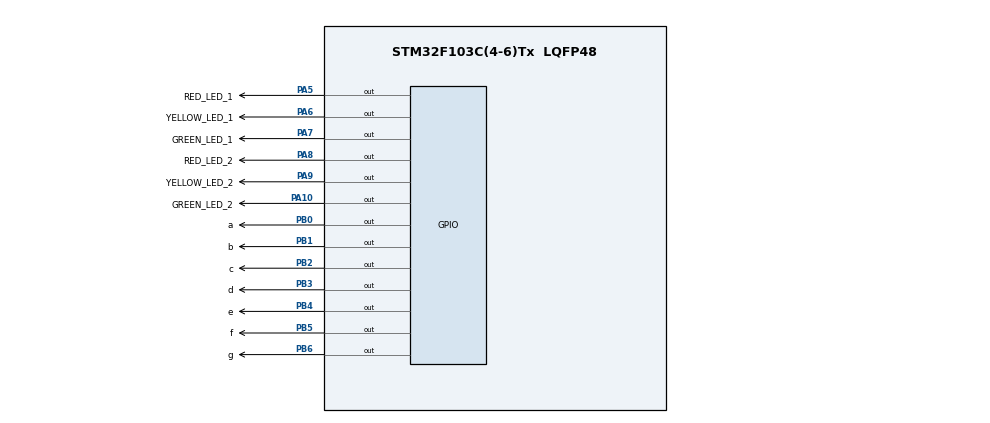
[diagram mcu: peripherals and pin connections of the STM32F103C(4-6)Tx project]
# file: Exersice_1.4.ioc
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Mcu.Family=STM32F1
Mcu.Name=STM32F103C(4-6)Tx
Mcu.Package=LQFP48
NVIC.PriorityGroup=NVIC_PRIORITYGROUP_4
PA10.GPIO_Label=GREEN_LED_2
PA10.Signal=GPIO_Output
PA5.GPIO_Label=RED_LED_1
PA5.Signal=GPIO_Output
PA6.GPIO_Label=YELLOW_LED_1
PA6.Signal=GPIO_Output
PA7.GPIO_Label=GREEN_LED_1
PA7.Signal=GPIO_Output
PA8.GPIO_Label=RED_LED_2
PA8.Signal=GPIO_Output
PA9.GPIO_Label=YELLOW_LED_2
PA9.Signal=GPIO_Output
PB0.GPIO_Label=a
PB0.Signal=GPIO_Output
PB1.GPIO_Label=b
PB1.Signal=GPIO_Output
PB2.GPIO_Label=c
PB2.Signal=GPIO_Output
PB3.GPIO_Label=d
PB3.Signal=GPIO_Output
PB4.GPIO_Label=e
PB4.Signal=GPIO_Output
PB5.GPIO_Label=f
PB5.Signal=GPIO_Output
PB6.GPIO_Label=g
PB6.Signal=GPIO_Output
ProjectManager.HeapSize=0x200
ProjectManager.StackSize=0x400
ProjectManager.TargetToolchain=STM32CubeIDE
RCC.APB1Freq_Value=8000000
RCC.APB2Freq_Value=8000000
board=custom

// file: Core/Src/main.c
/* USER CODE BEGIN Header */
/**
  ******************************************************************************
  * @file           : main.c
  * @brief          : Main program body
  ******************************************************************************
  * @attention
  *
  * Copyright (c) 2025 STMicroelectronics.
  * All rights reserved.
  *
  * This software is licensed under terms that can be found in the LICENSE file
  * in the root directory of this software component.
  * If no LICENSE file comes with this software, it is provided AS-IS.
  *
  ******************************************************************************
  */
/* USER CODE END Header */
#include "main.h"

void SystemClock_Config(void);
static void MX_GPIO_Init(void);
/* USER CODE BEGIN PFP */
void number(int n);
void led_1(int *flag_1, int *t1);
void led_2(int *flag_2, int *t2);
/* USER CODE END PFP */

/* USER CODE BEGIN 0 */
void number( int n){
	switch (n){
	case 0:
		HAL_GPIO_WritePin(GPIOB, a_Pin|b_Pin|c_Pin|d_Pin|e_Pin|f_Pin, RESET);
		HAL_GPIO_WritePin(GPIOB, g_Pin, SET);
		break;
	case 1:
		HAL_GPIO_WritePin(GPIOB, b_Pin|c_Pin, RESET);
		HAL_GPIO_WritePin(GPIOB, a_Pin|g_Pin|d_Pin|e_Pin|f_Pin, SET);
		break;
	case 2:
		HAL_GPIO_WritePin(GPIOB, a_Pin|b_Pin|g_Pin|d_Pin|e_Pin, RESET);
		HAL_GPIO_WritePin(GPIOB, c_Pin|f_Pin, SET);
		break;
	case 3:
		HAL_GPIO_WritePin(GPIOB, a_Pin|b_Pin|g_Pin|c_Pin|d_Pin, RESET);
		HAL_GPIO_WritePin(GPIOB, e_Pin|f_Pin, SET);
		break;
	case 4:
		HAL_GPIO_WritePin(GPIOB, b_Pin|c_Pin|f_Pin|g_Pin, RESET);
		HAL_GPIO_WritePin(GPIOB, a_Pin|d_Pin|e_Pin, SET);
		break;
	case 5:
		HAL_GPIO_WritePin(GPIOB, a_Pin|f_Pin|g_Pin|c_Pin|d_Pin, RESET);
		HAL_GPIO_WritePin(GPIOB, e_Pin|b_Pin, SET);
		break;
	}
}

void led_1(int *flag_1, int *t1){
	if((*flag_1 == 1) && (*t1 == 0)){
		HAL_GPIO_WritePin(GPIOA, RED_LED_1_Pin, RESET);
		HAL_GPIO_WritePin(GPIOA, GREEN_LED_1_Pin, SET);
		*flag_1 = 2;
		*t1 = 3;
	}
	else if((*flag_1 == 2) && (*t1 == 0)){
		HAL_GPIO_WritePin(GPIOA, GREEN_LED_1_Pin, RESET);
		HAL_GPIO_WritePin(GPIOA, YELLOW_LED_1_Pin, SET);
		*flag_1 = 3;
		*t1 = 2;
	}
	else if((*flag_1 == 3) && (*t1 == 0)){
		HAL_GPIO_WritePin(GPIOA, YELLOW_LED_1_Pin, RESET);
		HAL_GPIO_WritePin(GPIOA, RED_LED_1_Pin, SET);
		*flag_1 = 1;
		*t1 = 5;
	}
	number(*t1);
	(*t1)--;
}

void led_2(int *flag_2, int *t2){
	if((*flag_2 == 1) && (*t2 == 0)){
		HAL_GPIO_WritePin(GPIOA, RED_LED_2_Pin, RESET);
		HAL_GPIO_WritePin(GPIOA, GREEN_LED_2_Pin, SET);
		*flag_2 = 2;
		*t2 = 3;
	}
	else if((*flag_2 == 2) && (*t2 == 0)){
		HAL_GPIO_WritePin(GPIOA, GREEN_LED_2_Pin, RESET);
		HAL_GPIO_WritePin(GPIOA, YELLOW_LED_2_Pin, SET);
		*flag_2 = 3;
		*t2 = 2;
	}
	else if((*flag_2 == 3) && (*t2 == 0)){
		HAL_GPIO_WritePin(GPIOA, YELLOW_LED_2_Pin, RESET);
		HAL_GPIO_WritePin(GPIOA, RED_LED_2_Pin, SET);
		*flag_2 = 1;
		*t2 = 5;
	}
	(*t2)--;
}
/* USER CODE END 0 */

int main(void)
{

  /* MCU Configuration--------------------------------------------------------*/

  /* Reset of all peripherals, Initializes the Flash interface and the Systick. */
  HAL_Init();

  /* Configure the system clock */
  SystemClock_Config();

  /* Initialize all configured peripherals */
  MX_GPIO_Init();
  /* USER CODE BEGIN 2 */
  int flag_1 = 3;
  int flag_2 = 1;
  int time_1 = 0;
  int time_2 = 0;

  /* USER CODE END 2 */

  /* Infinite loop */
  /* USER CODE BEGIN WHILE */
  while (1)
  {
	  led_1(&flag_1, &time_1);
	  led_2(&flag_2, &time_2);
	  HAL_Delay(1000);
    /* USER CODE END WHILE */

  }
}

void SystemClock_Config(void)
{
  RCC_OscInitTypeDef RCC_OscInitStruct = {0};
  RCC_ClkInitTypeDef RCC_ClkInitStruct = {0};

  /** Initializes the RCC Oscillators according to the specified parameters
  * in the RCC_OscInitTypeDef structure.
  */
  RCC_OscInitStruct.OscillatorType = RCC_OSCILLATORTYPE_HSI;
  RCC_OscInitStruct.HSIState = RCC_HSI_ON;
  RCC_OscInitStruct.HSICalibrationValue = RCC_HSICALIBRATION_DEFAULT;
  RCC_OscInitStruct.PLL.PLLState = RCC_PLL_NONE;
  if (HAL_RCC_OscConfig(&RCC_OscInitStruct) != HAL_OK)
  {
    Error_Handler();
  }

  /** Initializes the CPU, AHB and APB buses clocks
  */
  RCC_ClkInitStruct.ClockType = RCC_CLOCKTYPE_HCLK|RCC_CLOCKTYPE_SYSCLK
                              |RCC_CLOCKTYPE_PCLK1|RCC_CLOCKTYPE_PCLK2;
  RCC_ClkInitStruct.SYSCLKSource = RCC_SYSCLKSOURCE_HSI;
  RCC_ClkInitStruct.AHBCLKDivider = RCC_SYSCLK_DIV1;
  RCC_ClkInitStruct.APB1CLKDivider = RCC_HCLK_DIV1;
  RCC_ClkInitStruct.APB2CLKDivider = RCC_HCLK_DIV1;

  if (HAL_RCC_ClockConfig(&RCC_ClkInitStruct, FLASH_LATENCY_0) != HAL_OK)
  {
    Error_Handler();
  }
}

static void MX_GPIO_Init(void)
{
  GPIO_InitTypeDef GPIO_InitStruct = {0};

  /* GPIO Ports Clock Enable */
  __HAL_RCC_GPIOA_CLK_ENABLE();
  __HAL_RCC_GPIOB_CLK_ENABLE();

  /*Configure GPIO pin Output Level */
  HAL_GPIO_WritePin(GPIOA, RED_LED_1_Pin|YELLOW_LED_1_Pin|GREEN_LED_1_Pin|RED_LED_2_Pin
                          |YELLOW_LED_2_Pin|GREEN_LED_2_Pin, GPIO_PIN_RESET);

  /*Configure GPIO pin Output Level */
  HAL_GPIO_WritePin(GPIOB, a_Pin|b_Pin|c_Pin|d_Pin
                          |e_Pin|f_Pin|g_Pin, GPIO_PIN_SET);

  /*Configure GPIO pins : RED_LED_1_Pin YELLOW_LED_1_Pin GREEN_LED_1_Pin RED_LED_2_Pin
                           YELLOW_LED_2_Pin GREEN_LED_2_Pin */
  GPIO_InitStruct.Pin = RED_LED_1_Pin|YELLOW_LED_1_Pin|GREEN_LED_1_Pin|RED_LED_2_Pin
                          |YELLOW_LED_2_Pin|GREEN_LED_2_Pin;
  GPIO_InitStruct.Mode = GPIO_MODE_OUTPUT_PP;
  GPIO_InitStruct.Pull = GPIO_NOPULL;
  GPIO_InitStruct.Speed = GPIO_SPEED_FREQ_LOW;
  HAL_GPIO_Init(GPIOA, &GPIO_InitStruct);

  /*Configure GPIO pins : a_Pin b_Pin c_Pin d_Pin
                           e_Pin f_Pin g_Pin */
  GPIO_InitStruct.Pin = a_Pin|b_Pin|c_Pin|d_Pin
                          |e_Pin|f_Pin|g_Pin;
  GPIO_InitStruct.Mode = GPIO_MODE_OUTPUT_PP;
  GPIO_InitStruct.Pull = GPIO_NOPULL;
  GPIO_InitStruct.Speed = GPIO_SPEED_FREQ_LOW;
  HAL_GPIO_Init(GPIOB, &GPIO_InitStruct);

}

void Error_Handler(void)
{
  __disable_irq();
  while (1)
  {
  }
}
